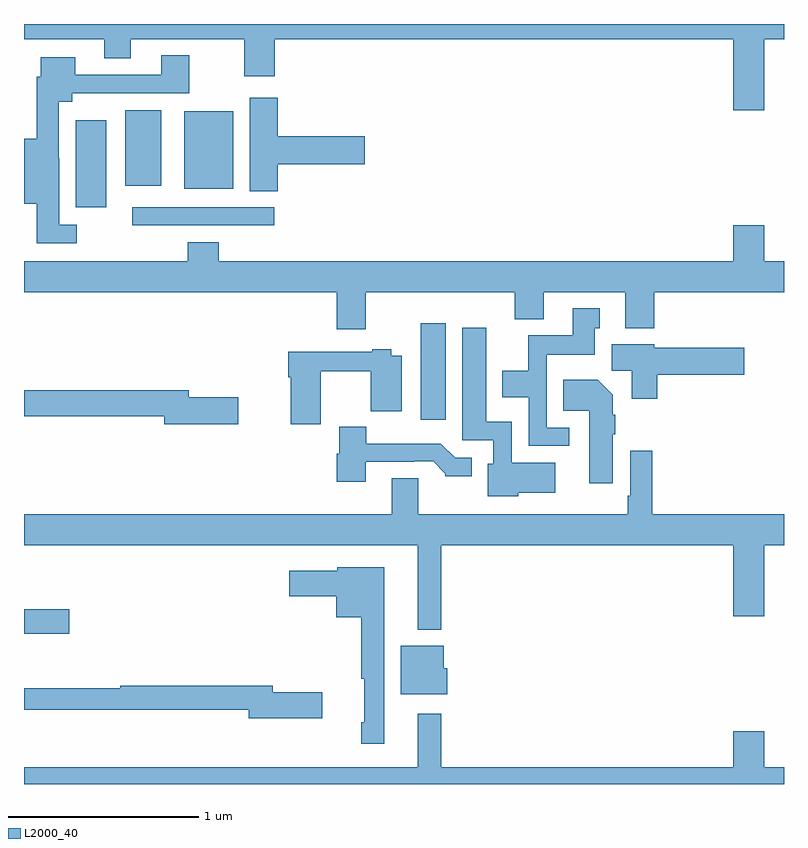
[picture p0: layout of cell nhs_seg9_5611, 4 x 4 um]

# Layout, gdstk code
import gdstk
lib = gdstk.Library(unit=1e-6, precision=1e-09)
def R(c, l, rs):  # rectangles x0, y0, x1, y1
    for r in rs: c.add(gdstk.rectangle(r[:2], r[2:], *l))
def P(c, l, *ps):  # polygons
    for p in ps: c.add(gdstk.Polygon(p, *l))
L2000_40 = (2000, 40)

nhs_seg9_5611 = lib.new_cell('nhs_seg9_5611')
R(nhs_seg9_5611, L2000_40, [(437,1193.291,437.239,1193.421), (439.088,1194.417,439.219,1194.925), (437.571,1195.44,438.316,1195.536), (437.273,1195.535,437.434,1195.993), (437.843,1195.634,438.1,1196.041), (437.534,1195.649,437.722,1196.047)])
P(nhs_seg9_5611, L2000_40, [(440.896,1196.42),(441,1196.42),(441,1196.5),(437,1196.5),(437,1196.42),(437.423,1196.42),(437.423,1196.321),(437.563,1196.321),(437.563,1196.42),(438.16,1196.42),(438.16,1196.226),(438.32,1196.226),(438.32,1196.42),(440.732,1196.42),(440.732,1196.046),(440.896,1196.046)],
  [(437.278,1195.444),(437.185,1195.444),(437.185,1195.793),(437.184,1195.793),(437.184,1196.09),(437.254,1196.09),(437.254,1196.136),(437.871,1196.136),(437.871,1196.335),(437.723,1196.335),(437.723,1196.232),(437.269,1196.232),(437.269,1196.326),(437.087,1196.326),(437.087,1196.222),(437.068,1196.222),(437.068,1195.897),(437,1195.897),(437,1195.553),(437.068,1195.553),(437.068,1195.347),(437.278,1195.347)],
  [(438.335,1195.763),(438.793,1195.763),(438.793,1195.91),(438.335,1195.91),(438.335,1196.113),(438.188,1196.113),(438.188,1195.621),(438.335,1195.621)],
  [(438.799,1195.088),(439.583,1195.088),(439.583,1194.947),(439.735,1194.947),(439.735,1195.088),(440.165,1195.088),(440.165,1194.899),(440.318,1194.899),(440.318,1195.088),(441,1195.088),(441,1195.252),(440.896,1195.252),(440.896,1195.441),(440.732,1195.441),(440.732,1195.252),(438.026,1195.252),(438.026,1195.351),(437.861,1195.351),(437.861,1195.252),(437,1195.252),(437,1195.088),(438.647,1195.088),(438.647,1194.894),(438.799,1194.894)],
  [(439.87,1194.375),(439.752,1194.375),(439.752,1194.758),(440.005,1194.758),(440.005,1194.9),(440.029,1194.9),(440.029,1195.003),(439.889,1195.003),(439.889,1194.862),(439.654,1194.862),(439.654,1194.676),(439.517,1194.676),(439.517,1194.536),(439.656,1194.536),(439.656,1194.279),(439.87,1194.279)],
  [(439.602,1194.032),(439.795,1194.032),(439.795,1194.19),(439.566,1194.19),(439.566,1194.406),(439.432,1194.406),(439.432,1194.901),(439.307,1194.901),(439.307,1194.309),(439.47,1194.309),(439.47,1194.186),(439.442,1194.186),(439.442,1194.014),(439.602,1194.014)],
  [(440.333,1194.653),(440.791,1194.653),(440.791,1194.795),(440.316,1194.795),(440.316,1194.814),(440.093,1194.814),(440.093,1194.676),(440.198,1194.676),(440.198,1194.528),(440.333,1194.528)],
  [(438.562,1194.673),(438.826,1194.673),(438.826,1194.461),(438.988,1194.461),(438.988,1194.754),(438.933,1194.754),(438.933,1194.787),(438.833,1194.787),(438.833,1194.774),(438.392,1194.774),(438.392,1194.641),(438.404,1194.641),(438.404,1194.393),(438.562,1194.393)],
  [(440.098,1194.34),(440.111,1194.34),(440.111,1194.443),(440.098,1194.443),(440.098,1194.55),(440.02,1194.628),(439.837,1194.628),(439.837,1194.464),(439.976,1194.464),(439.976,1194.084),(440.098,1194.084)],
  [(438.127,1194.536),(437.866,1194.536),(437.866,1194.572),(437,1194.572),(437,1194.436),(437.738,1194.436),(437.738,1194.394),(438.127,1194.394)],
  [(438.799,1194.195),(439.055,1194.195),(439.055,1194.198),(439.154,1194.198),(439.218,1194.134),(439.218,1194.119),(439.357,1194.119),(439.357,1194.216),(439.269,1194.216),(439.193,1194.292),(438.802,1194.292),(438.802,1194.379),(438.659,1194.379),(438.659,1194.237),(438.647,1194.237),(438.647,1194.09),(438.799,1194.09)],
  [(439.195,1193.756),(440.732,1193.756),(440.732,1193.382),(440.896,1193.382),(440.896,1193.756),(441,1193.756),(441,1193.92),(440.306,1193.92),(440.306,1194.253),(440.19,1194.253),(440.19,1194.016),(440.178,1194.016),(440.178,1193.92),(439.075,1193.92),(439.075,1194.11),(438.935,1194.11),(438.935,1193.92),(437,1193.92),(437,1193.756),(439.073,1193.756),(439.073,1193.312),(439.195,1193.312)],
  [(438.895,1193.641),(438.648,1193.641),(438.648,1193.623),(438.396,1193.623),(438.396,1193.489),(438.644,1193.489),(438.644,1193.378),(438.774,1193.378),(438.774,1193.054),(438.791,1193.054),(438.791,1192.825),(438.774,1192.825),(438.774,1192.713),(438.895,1192.713)],
  [(439.228,1193.109),(439.21,1193.109),(439.21,1193.227),(438.983,1193.227),(438.983,1192.973),(439.228,1192.973)],
  [(438.571,1192.982),(438.31,1192.982),(438.31,1193.018),(437.506,1193.018),(437.506,1193.003),(437,1193.003),(437,1192.89),(438.182,1192.89),(438.182,1192.847),(438.571,1192.847)],
  [(441,1192.588),(440.896,1192.588),(440.896,1192.777),(440.732,1192.777),(440.732,1192.588),(439.195,1192.588),(439.195,1192.87),(439.073,1192.87),(439.073,1192.588),(437,1192.588),(437,1192.5),(441,1192.5)])

lib.write_gds('nhs_seg9_5611.gds')
